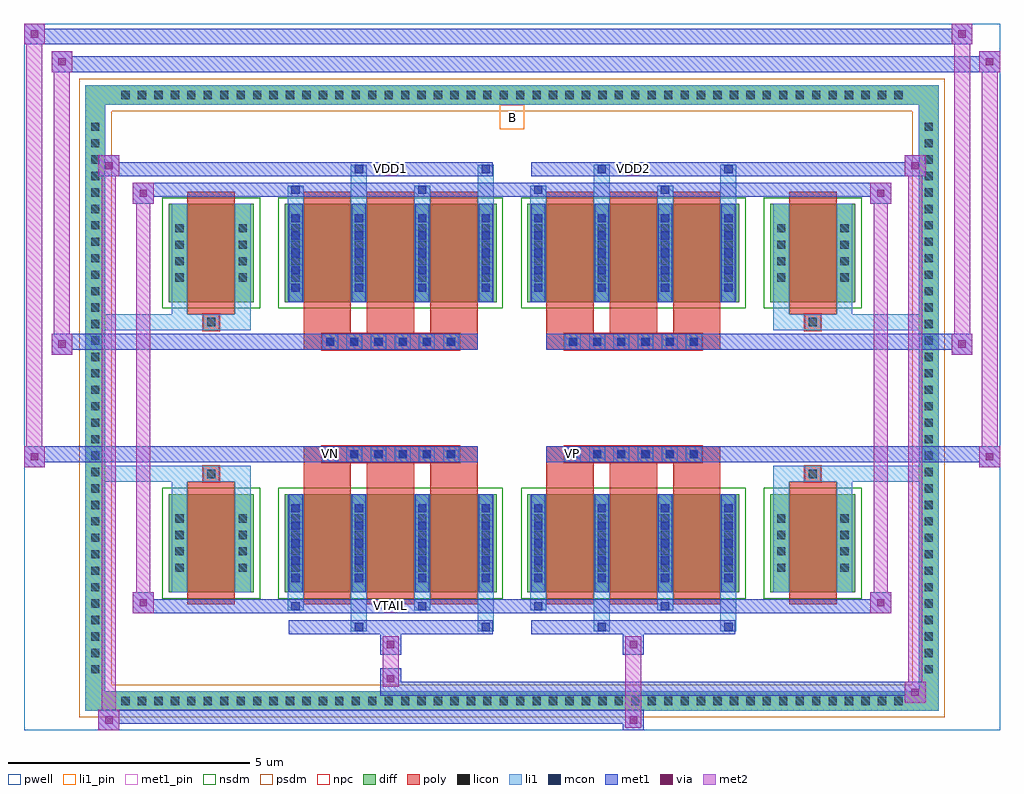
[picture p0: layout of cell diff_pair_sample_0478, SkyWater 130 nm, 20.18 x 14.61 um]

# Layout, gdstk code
import gdstk
lib = gdstk.Library(unit=1e-6, precision=5e-09)
def R(c, l, rs):  # rectangles x0, y0, x1, y1
    for r in rs: c.add(gdstk.rectangle(r[:2], r[2:], *l))
def A(c, l, x, y, w, h, nx, ny, dx, dy):  # array of equal rectangles
    R(c, l, [(x+i*dx, y+j*dy, x+i*dx+w, y+j*dy+h) for i in range(nx) for j in range(ny)])
def P(c, l, *ps):  # polygons
    for p in ps: c.add(gdstk.Polygon(p, *l))
pwell = (64, 44)
diff = (65, 20)
poly = (66, 20)
licon = (66, 44)
li1_pin = (67, 16)
li1 = (67, 20)
mcon = (67, 44)
met1_pin = (68, 16)
met1 = (68, 20)
via = (68, 44)
met2 = (69, 20)
nsdm = (93, 44)
psdm = (94, 20)
npc = (95, 20)

diff_pair_sample_0478 = lib.new_cell('diff_pair_sample_0478')
R(diff_pair_sample_0478, pwell, [(-10.09,-6.87,10.09,7.74), (-7.41,-5.06,-0.01,-0.8), (0.01,-5.06,7.41,-0.8), (-7.41,0.8,-0.01,5.06), (0.01,0.8,7.41,5.06)])
A(diff_pair_sample_0478, diff, -8.195, -6.47, 0.41, 0.41, 48, 2, 0.34, 12.53)
A(diff_pair_sample_0478, diff, -8.82, -5.815, 0.41, 0.41, 1, 34, 0, 0.34)
A(diff_pair_sample_0478, diff, 8.41, -5.815, 0.41, 0.41, 1, 34, 0, 0.34)
R(diff_pair_sample_0478, diff, [(-8.195,-6.47,8.195,-6.06), (-8.82,-5.815,-8.41,5.815), (8.41,-5.815,8.82,5.815), (-7.1,-4.015,-5.34,-1.985), (-4.7,-4.015,-0.32,-1.985), (0.32,-4.015,4.7,-1.985), (5.34,-4.015,7.1,-1.985), (-7.1,1.985,-5.34,4.015), (-4.7,1.985,-0.32,4.015), (0.32,1.985,4.7,4.015), (5.34,1.985,7.1,4.015), (-8.195,6.06,8.195,6.47)])
P(diff_pair_sample_0478, diff, [(8.82,6.47),(-8.82,6.47),(-8.82,-6.06),(-8.41,-6.06),(-8.41,6.06),(8.41,6.06),(8.41,-6.06),(-8.41,-6.06),(-8.82,-6.06),(-8.82,-6.47),(8.82,-6.47)])
A(diff_pair_sample_0478, poly, -4.31, -4.265, 0.98, 2.53, 3, 2, 1.31, 6)
A(diff_pair_sample_0478, poly, 0.71, -4.265, 0.98, 2.53, 3, 2, 1.31, 6)
A(diff_pair_sample_0478, poly, -4.31, -1.735, 0.98, 0.405, 3, 2, 1.31, 3.065)
A(diff_pair_sample_0478, poly, 0.71, -1.735, 0.98, 0.405, 3, 2, 1.31, 3.065)
A(diff_pair_sample_0478, poly, -3.925, -1.33, 0.33, 0.33, 6, 2, 0.5, 2.33)
A(diff_pair_sample_0478, poly, 1.095, -1.33, 0.33, 0.33, 6, 2, 0.5, 2.33)
R(diff_pair_sample_0478, poly, [(-6.71,-4.265,-5.73,-1.735), (5.73,-4.265,6.71,-1.735), (-6.385,-1.735,-6.055,-1.405), (-6.385,-1.735,-6.055,-1.405), (6.055,-1.735,6.385,-1.405), (6.055,-1.735,6.385,-1.405), (-4.31,-1.33,-0.71,-1), (0.71,-1.33,4.31,-1), (-4.31,1,-0.71,1.33), (0.71,1,4.31,1.33), (-6.385,1.405,-6.055,1.735), (-6.385,1.405,-6.055,1.735), (6.055,1.405,6.385,1.735), (6.055,1.405,6.385,1.735), (-6.71,1.735,-5.73,4.265), (5.73,1.735,6.71,4.265)])
A(diff_pair_sample_0478, licon, -8.075, -6.35, 0.17, 0.17, 48, 2, 0.34, 12.53)
A(diff_pair_sample_0478, licon, -8.7, -5.695, 0.17, 0.17, 1, 34, 0, 0.34)
A(diff_pair_sample_0478, licon, 8.53, -5.695, 0.17, 0.17, 1, 34, 0, 0.34)
A(diff_pair_sample_0478, licon, -6.96, -3.595, 0.17, 0.17, 1, 4, 0, 0.34)
A(diff_pair_sample_0478, licon, -5.65, -3.595, 0.17, 0.17, 1, 4, 0, 0.34)
A(diff_pair_sample_0478, licon, -4.56, -3.595, 0.17, 0.17, 4, 4, 1.31, 0.34)
A(diff_pair_sample_0478, licon, 0.46, -3.595, 0.17, 0.17, 4, 4, 1.31, 0.34)
A(diff_pair_sample_0478, licon, 5.48, -3.595, 0.17, 0.17, 1, 4, 0, 0.34)
A(diff_pair_sample_0478, licon, 6.79, -3.595, 0.17, 0.17, 1, 4, 0, 0.34)
A(diff_pair_sample_0478, licon, -3.845, -1.25, 0.17, 0.17, 6, 2, 0.5, 2.33)
A(diff_pair_sample_0478, licon, 1.175, -1.25, 0.17, 0.17, 6, 2, 0.5, 2.33)
A(diff_pair_sample_0478, licon, -6.96, 2.405, 0.17, 0.17, 1, 4, 0, 0.34)
A(diff_pair_sample_0478, licon, -5.65, 2.405, 0.17, 0.17, 1, 4, 0, 0.34)
A(diff_pair_sample_0478, licon, -4.56, 2.405, 0.17, 0.17, 4, 4, 1.31, 0.34)
A(diff_pair_sample_0478, licon, 0.46, 2.405, 0.17, 0.17, 4, 4, 1.31, 0.34)
A(diff_pair_sample_0478, licon, 5.48, 2.405, 0.17, 0.17, 1, 4, 0, 0.34)
A(diff_pair_sample_0478, licon, 6.79, 2.405, 0.17, 0.17, 1, 4, 0, 0.34)
R(diff_pair_sample_0478, licon, [(-6.305,-1.655,-6.135,-1.485), (6.135,-1.655,6.305,-1.485), (-6.305,1.485,-6.135,1.655), (6.135,1.485,6.305,1.655)])
R(diff_pair_sample_0478, li1_pin, [(-0.25,5.56,0.25,6.06)])
A(diff_pair_sample_0478, li1, -8.155, -6.43, 0.33, 0.33, 48, 2, 0.34, 12.53)
A(diff_pair_sample_0478, li1, -8.78, -5.775, 0.33, 0.33, 1, 34, 0, 0.34)
A(diff_pair_sample_0478, li1, 8.45, -5.775, 0.33, 0.33, 1, 34, 0, 0.34)
A(diff_pair_sample_0478, li1, -4.64, -4.015, 0.33, 2.03, 4, 2, 1.31, 6)
A(diff_pair_sample_0478, li1, 0.38, -4.015, 0.33, 2.03, 4, 2, 1.31, 6)
A(diff_pair_sample_0478, li1, -4.56, -3.805, 0.17, 0.17, 4, 5, 1.31, 0.36)
A(diff_pair_sample_0478, li1, -4.56, -3.805, 0.17, 1.61, 4, 2, 1.31, 6)
A(diff_pair_sample_0478, li1, 0.46, -3.805, 0.17, 0.17, 4, 5, 1.31, 0.36)
A(diff_pair_sample_0478, li1, 0.46, -3.805, 0.17, 1.61, 4, 2, 1.31, 6)
A(diff_pair_sample_0478, li1, -7.04, -3.675, 0.33, 0.33, 1, 4, 0, 0.34)
A(diff_pair_sample_0478, li1, -5.73, -3.675, 0.33, 0.33, 1, 4, 0, 0.34)
A(diff_pair_sample_0478, li1, -4.64, -3.675, 0.33, 0.33, 4, 4, 1.31, 0.34)
A(diff_pair_sample_0478, li1, 0.38, -3.675, 0.33, 0.33, 4, 4, 1.31, 0.34)
A(diff_pair_sample_0478, li1, 5.4, -3.675, 0.33, 0.33, 1, 4, 0, 0.34)
A(diff_pair_sample_0478, li1, 6.71, -3.675, 0.33, 0.33, 1, 4, 0, 0.34)
A(diff_pair_sample_0478, li1, -3.925, -1.33, 0.33, 0.33, 6, 2, 0.5, 2.33)
A(diff_pair_sample_0478, li1, 1.095, -1.33, 0.33, 0.33, 6, 2, 0.5, 2.33)
A(diff_pair_sample_0478, li1, -4.56, 2.195, 0.17, 0.17, 4, 5, 1.31, 0.36)
A(diff_pair_sample_0478, li1, 0.46, 2.195, 0.17, 0.17, 4, 5, 1.31, 0.36)
A(diff_pair_sample_0478, li1, -7.04, 2.325, 0.33, 0.33, 1, 4, 0, 0.34)
A(diff_pair_sample_0478, li1, -5.73, 2.325, 0.33, 0.33, 1, 4, 0, 0.34)
A(diff_pair_sample_0478, li1, -4.64, 2.325, 0.33, 0.33, 4, 4, 1.31, 0.34)
A(diff_pair_sample_0478, li1, 0.38, 2.325, 0.33, 0.33, 4, 4, 1.31, 0.34)
A(diff_pair_sample_0478, li1, 5.4, 2.325, 0.33, 0.33, 1, 4, 0, 0.34)
A(diff_pair_sample_0478, li1, 6.71, 2.325, 0.33, 0.33, 1, 4, 0, 0.34)
R(diff_pair_sample_0478, li1, [(-8.82,-6.47,-8.41,-6.06), (-8.82,-6.47,-8.41,-6.06), (-8.41,-6.47,8.41,-6.06), (8.41,-6.47,8.82,-6.06), (8.41,-6.47,8.82,-6.06), (-8.82,-6.06,-8.41,6.06), (8.41,-6.06,8.82,6.06), (-3.33,-4.82,-3,-4.015), (-3.25,-4.82,-3.08,-4.65), (-0.71,-4.82,-0.38,-4.015), (-0.63,-4.82,-0.46,-4.65), (1.69,-4.82,2.02,-4.015), (1.77,-4.82,1.94,-4.65), (4.31,-4.82,4.64,-4.015), (4.39,-4.82,4.56,-4.65), (-4.64,-4.39,-4.31,-4.015), (-4.56,-4.39,-4.39,-4.22), (-2.02,-4.39,-1.69,-4.015), (-1.94,-4.39,-1.77,-4.22), (0.38,-4.39,0.71,-4.015), (0.46,-4.39,0.63,-4.22), (3,-4.39,3.33,-4.015), (3.08,-4.39,3.25,-4.22), (-7.04,-4.015,-6.71,-1.985), (-5.73,-4.015,-5.4,-1.985), (5.4,-4.015,5.73,-1.985), (6.71,-4.015,7.04,-1.985), (-7.04,-1.985,-6.71,-1.405), (-5.73,-1.985,-5.4,-1.405), (5.4,-1.985,5.73,-1.405), (6.71,-1.985,7.04,-1.405), (-8.82,-1.735,-6.385,-1.405), (-7.04,-1.735,-6.385,-1.405), (-6.385,-1.735,-6.055,-1.405), (-6.055,-1.735,-5.4,-1.405), (5.4,-1.735,6.055,-1.405), (6.055,-1.735,6.385,-1.405), (6.055,-1.735,8.82,-1.405), (6.385,-1.735,7.04,-1.405), (-8.82,1.405,-6.385,1.735), (-7.04,1.405,-6.385,1.735), (-7.04,1.405,-6.71,1.985), (-6.385,1.405,-6.055,1.735), (-6.055,1.405,-5.4,1.735), (-5.73,1.405,-5.4,1.985), (5.4,1.405,6.055,1.735), (5.4,1.405,5.73,1.985), (6.055,1.405,6.385,1.735), (6.055,1.405,8.82,1.735), (6.385,1.405,7.04,1.735), (6.71,1.405,7.04,1.985), (-7.04,1.985,-6.71,4.015), (-5.73,1.985,-5.4,4.015), (5.4,1.985,5.73,4.015), (6.71,1.985,7.04,4.015), (-4.64,4.015,-4.31,4.39), (-3.33,4.015,-3,4.82), (-2.02,4.015,-1.69,4.39), (-0.71,4.015,-0.38,4.82), (0.38,4.015,0.71,4.39), (1.69,4.015,2.02,4.82), (3,4.015,3.33,4.39), (4.31,4.015,4.64,4.82), (-4.56,4.22,-4.39,4.39), (-1.94,4.22,-1.77,4.39), (0.46,4.22,0.63,4.39), (3.08,4.22,3.25,4.39), (-3.25,4.65,-3.08,4.82), (-0.63,4.65,-0.46,4.82), (1.77,4.65,1.94,4.82), (4.39,4.65,4.56,4.82), (-8.82,6.06,-8.41,6.47), (-8.82,6.06,-8.41,6.47), (-8.41,6.06,8.41,6.47), (8.41,6.06,8.82,6.47), (8.41,6.06,8.82,6.47)])
A(diff_pair_sample_0478, mcon, -4.56, -3.805, 0.17, 0.17, 4, 5, 1.31, 0.36)
A(diff_pair_sample_0478, mcon, 0.46, -3.805, 0.17, 0.17, 4, 5, 1.31, 0.36)
A(diff_pair_sample_0478, mcon, -3.845, -1.25, 0.17, 0.17, 6, 2, 0.5, 2.33)
A(diff_pair_sample_0478, mcon, 1.175, -1.25, 0.17, 0.17, 6, 2, 0.5, 2.33)
A(diff_pair_sample_0478, mcon, -4.56, 2.195, 0.17, 0.17, 4, 5, 1.31, 0.36)
A(diff_pair_sample_0478, mcon, 0.46, 2.195, 0.17, 0.17, 4, 5, 1.31, 0.36)
R(diff_pair_sample_0478, mcon, [(-3.25,-4.82,-3.08,-4.65), (-0.63,-4.82,-0.46,-4.65), (1.77,-4.82,1.94,-4.65), (4.39,-4.82,4.56,-4.65), (-4.56,-4.39,-4.39,-4.22), (-1.94,-4.39,-1.77,-4.22), (0.46,-4.39,0.63,-4.22), (3.08,-4.39,3.25,-4.22), (-4.56,4.22,-4.39,4.39), (-1.94,4.22,-1.77,4.39), (0.46,4.22,0.63,4.39), (3.08,4.22,3.25,4.39), (-3.25,4.65,-3.08,4.82), (-0.63,4.65,-0.46,4.82), (1.77,4.65,1.94,4.82), (4.39,4.65,4.56,4.82)])
R(diff_pair_sample_0478, met1_pin, [(-2.645,-4.43,-2.375,-4.16), (-3.895,-1.29,-3.625,-1.02), (1.125,-1.29,1.395,-1.02), (-2.645,4.61,-2.375,4.88), (2.375,4.61,2.645,4.88)])
A(diff_pair_sample_0478, met1, -4.62, -4.015, 0.29, 2.03, 4, 2, 1.31, 6)
A(diff_pair_sample_0478, met1, 0.4, -4.015, 0.29, 2.03, 4, 2, 1.31, 6)
A(diff_pair_sample_0478, met1, -4.62, -3.865, 0.29, 0.29, 4, 5, 1.31, 0.36)
A(diff_pair_sample_0478, met1, 0.4, -3.865, 0.29, 0.29, 4, 5, 1.31, 0.36)
A(diff_pair_sample_0478, met1, -3.905, -1.31, 0.29, 0.29, 6, 2, 0.5, 2.33)
A(diff_pair_sample_0478, met1, 1.115, -1.31, 0.29, 0.29, 6, 2, 0.5, 2.33)
A(diff_pair_sample_0478, met1, -4.62, 2.135, 0.29, 0.29, 4, 5, 1.31, 0.36)
A(diff_pair_sample_0478, met1, 0.4, 2.135, 0.29, 0.29, 4, 5, 1.31, 0.36)
R(diff_pair_sample_0478, met1, [(-8.55,-6.87,-8.12,-6.44), (2.295,-6.87,2.725,-6.44), (-8.55,-6.73,2.725,-6.44), (8.12,-6.3,8.55,-5.87), (-2.725,-6.16,8.55,-5.87), (-2.725,-6.02,-2.295,-5.59), (-2.725,-5.31,-2.295,-4.88), (2.295,-5.31,2.725,-4.88), (-4.62,-4.88,-0.4,-4.59), (-3.31,-4.88,-3.02,-4.59), (-0.69,-4.88,-0.4,-4.59), (0.4,-4.88,4.62,-4.59), (1.71,-4.88,2,-4.59), (4.33,-4.88,4.62,-4.59), (-7.84,-4.45,-7.41,-4.02), (-7.84,-4.45,-4.62,-4.16), (-4.62,-4.45,-4.33,-4.16), (-4.62,-4.45,-0.4,-4.16), (-2,-4.45,-1.71,-4.16), (-0.4,-4.45,0.4,-4.16), (0.4,-4.45,0.69,-4.16), (0.4,-4.45,4.62,-4.16), (3.02,-4.45,3.31,-4.16), (4.62,-4.45,7.84,-4.16), (7.41,-4.45,7.84,-4.02), (-10.09,-1.43,-9.66,-1), (9.66,-1.43,10.09,-1), (-10.09,-1.33,-0.71,-1), (-4.31,-1.33,-0.71,-1), (0.71,-1.33,4.31,-1), (0.71,-1.33,10.09,-1), (-9.52,0.9,-9.09,1.33), (9.09,0.9,9.52,1.33), (-9.52,1,-4.31,1.33), (-4.31,1,-0.71,1.33), (0.71,1,4.31,1.33), (4.31,1,9.52,1.33), (-7.84,4.02,-7.41,4.45), (7.41,4.02,7.84,4.45), (-7.84,4.16,-4.62,4.45), (-4.62,4.16,-4.33,4.45), (-4.62,4.16,-0.4,4.45), (-2,4.16,-1.71,4.45), (-0.4,4.16,0.4,4.45), (0.4,4.16,0.69,4.45), (0.4,4.16,4.62,4.45), (3.02,4.16,3.31,4.45), (4.62,4.16,7.84,4.45), (-8.55,4.59,-8.12,5.02), (-8.55,4.59,-4.62,4.88), (-4.62,4.59,-0.4,4.88), (-3.31,4.59,-3.02,4.88), (-0.69,4.59,-0.4,4.88), (0.4,4.59,4.62,4.88), (1.71,4.59,2,4.88), (4.33,4.59,4.62,4.88), (4.62,4.59,8.55,4.88), (8.12,4.59,8.55,5.02), (-9.52,6.74,-9.09,7.17), (-9.52,6.74,-7.41,7.07), (-7.41,6.74,7.41,7.07), (7.41,6.74,10.09,7.07), (9.66,6.74,10.09,7.17), (-10.09,7.31,-9.66,7.74), (-10.09,7.31,-7.41,7.64), (-7.41,7.31,7.41,7.64), (7.41,7.31,9.52,7.64), (9.09,7.31,9.52,7.74)])
R(diff_pair_sample_0478, via, [(-8.41,-6.73,-8.26,-6.58), (2.435,-6.73,2.585,-6.58), (8.26,-6.16,8.41,-6.01), (-2.585,-5.88,-2.435,-5.73), (-2.585,-5.17,-2.435,-5.02), (2.435,-5.17,2.585,-5.02), (-7.7,-4.31,-7.55,-4.16), (7.55,-4.31,7.7,-4.16), (-9.95,-1.29,-9.8,-1.14), (9.8,-1.29,9.95,-1.14), (-9.38,1.04,-9.23,1.19), (9.23,1.04,9.38,1.19), (-7.7,4.16,-7.55,4.31), (7.55,4.16,7.7,4.31), (-8.41,4.73,-8.26,4.88), (8.26,4.73,8.41,4.88), (-9.38,6.88,-9.23,7.03), (9.8,6.88,9.95,7.03), (-9.95,7.45,-9.8,7.6), (9.23,7.45,9.38,7.6)])
R(diff_pair_sample_0478, met2, [(-8.55,-6.87,-8.12,-6.44), (-8.48,-6.87,-8.19,5.02), (-8.19,-6.87,-8.12,-6.44), (-8.5,-6.82,-8.17,-6.49), (2.345,-6.82,2.675,-6.49), (2.345,-6.49,2.675,-5.26), (8.12,-6.3,8.55,-5.87), (8.19,-6.3,8.48,5.02), (8.48,-6.3,8.55,-5.87), (8.17,-6.25,8.5,-5.92), (-2.675,-5.97,-2.345,-5.64), (-2.675,-5.64,-2.345,-5.26), (-2.675,-5.26,-2.345,-4.93), (2.345,-5.26,2.675,-4.93), (-7.84,-4.45,-7.41,-4.02), (-7.77,-4.45,-7.48,4.45), (-7.48,-4.45,-7.41,-4.02), (7.41,-4.45,7.84,-4.02), (7.48,-4.45,7.77,4.45), (7.77,-4.45,7.84,-4.02), (-7.79,-4.4,-7.46,-4.07), (7.46,-4.4,7.79,-4.07), (-10.09,-1.43,-9.66,-1), (-10.04,-1.43,-9.71,7.74), (-9.71,-1.43,-9.66,-1), (9.66,-1.43,10.09,-1), (9.71,-1.43,10.04,7.17), (10.04,-1.43,10.09,-1), (-10.04,-1.38,-9.71,-1.05), (9.71,-1.38,10.04,-1.05), (-9.52,0.9,-9.09,1.33), (-9.47,0.9,-9.14,7.17), (-9.14,0.9,-9.09,1.33), (9.09,0.9,9.52,1.33), (9.14,0.9,9.47,7.74), (9.47,0.9,9.52,1.33), (-9.47,0.95,-9.14,1.28), (9.14,0.95,9.47,1.28), (-7.84,4.02,-7.41,4.45), (-7.48,4.02,-7.41,4.45), (7.41,4.02,7.84,4.45), (7.77,4.02,7.84,4.45), (-7.79,4.07,-7.46,4.4), (7.46,4.07,7.79,4.4), (-8.55,4.59,-8.12,5.02), (-8.19,4.59,-8.12,5.02), (8.12,4.59,8.55,5.02), (8.48,4.59,8.55,5.02), (-8.5,4.64,-8.17,4.97), (8.17,4.64,8.5,4.97), (-9.52,6.74,-9.09,7.17), (-9.14,6.74,-9.09,7.17), (9.66,6.74,10.09,7.17), (10.04,6.74,10.09,7.17), (-9.47,6.79,-9.14,7.12), (9.71,6.79,10.04,7.12), (-10.09,7.31,-9.66,7.74), (-9.71,7.31,-9.66,7.74), (9.09,7.31,9.52,7.74), (9.47,7.31,9.52,7.74), (-10.04,7.36,-9.71,7.69), (9.14,7.36,9.47,7.69)])
R(diff_pair_sample_0478, nsdm, [(-7.23,-4.145,-5.21,-1.855), (-4.83,-4.145,-0.19,-1.855), (0.19,-4.145,4.83,-1.855), (5.21,-4.145,7.23,-1.855), (-7.23,1.855,-5.21,4.145), (-4.83,1.855,-0.19,4.145), (0.19,1.855,4.83,4.145), (5.21,1.855,7.23,4.145)])
P(diff_pair_sample_0478, psdm, [(8.95,6.6),(-8.95,6.6),(-8.95,-5.93),(-8.28,-5.93),(-8.28,5.93),(8.28,5.93),(8.28,-5.93),(-8.28,-5.93),(-8.95,-5.93),(-8.95,-6.6),(8.95,-6.6)])
A(diff_pair_sample_0478, npc, -3.945, -1.35, 0.37, 0.37, 6, 2, 0.5, 2.33)
A(diff_pair_sample_0478, npc, 1.075, -1.35, 0.37, 0.37, 6, 2, 0.5, 2.33)
R(diff_pair_sample_0478, npc, [(-6.405,-1.755,-6.035,-1.385), (6.035,-1.755,6.405,-1.385), (-3.945,-1.35,-3.075,-0.98), (-3.945,-1.35,-3.075,-0.98), (-3.445,-1.35,-2.575,-0.98), (-3.445,-1.35,-2.575,-0.98), (-2.945,-1.35,-2.075,-0.98), (-2.945,-1.35,-2.075,-0.98), (-2.445,-1.35,-1.575,-0.98), (-2.445,-1.35,-1.575,-0.98), (-1.945,-1.35,-1.075,-0.98), (-1.945,-1.35,-1.075,-0.98), (1.075,-1.35,1.945,-0.98), (1.075,-1.35,1.945,-0.98), (1.575,-1.35,2.445,-0.98), (1.575,-1.35,2.445,-0.98), (2.075,-1.35,2.945,-0.98), (2.075,-1.35,2.945,-0.98), (2.575,-1.35,3.445,-0.98), (2.575,-1.35,3.445,-0.98), (3.075,-1.35,3.945,-0.98), (3.075,-1.35,3.945,-0.98), (-3.945,0.98,-3.075,1.35), (-3.945,0.98,-3.075,1.35), (-3.445,0.98,-2.575,1.35), (-3.445,0.98,-2.575,1.35), (-2.945,0.98,-2.075,1.35), (-2.945,0.98,-2.075,1.35), (-2.445,0.98,-1.575,1.35), (-2.445,0.98,-1.575,1.35), (-1.945,0.98,-1.075,1.35), (-1.945,0.98,-1.075,1.35), (1.075,0.98,1.945,1.35), (1.075,0.98,1.945,1.35), (1.575,0.98,2.445,1.35), (1.575,0.98,2.445,1.35), (2.075,0.98,2.945,1.35), (2.075,0.98,2.945,1.35), (2.575,0.98,3.445,1.35), (2.575,0.98,3.445,1.35), (3.075,0.98,3.945,1.35), (3.075,0.98,3.945,1.35), (-6.405,1.385,-6.035,1.755), (6.035,1.385,6.405,1.755)])
diff_pair_sample_0478.add(gdstk.Label('VTAIL', (-2.51,-4.295), layer=68, texttype=5))
diff_pair_sample_0478.add(gdstk.Label('VN', (-3.76,-1.155), layer=68, texttype=5))
diff_pair_sample_0478.add(gdstk.Label('VP', (1.26,-1.155), layer=68, texttype=5))
diff_pair_sample_0478.add(gdstk.Label('B', (0,5.81), layer=67, texttype=5))
diff_pair_sample_0478.add(gdstk.Label('VDD2', (2.51,4.745), layer=68, texttype=5))
diff_pair_sample_0478.add(gdstk.Label('VDD1', (-2.51,4.745), layer=68, texttype=5))

lib.write_gds('diff_pair_sample_0478.gds')
